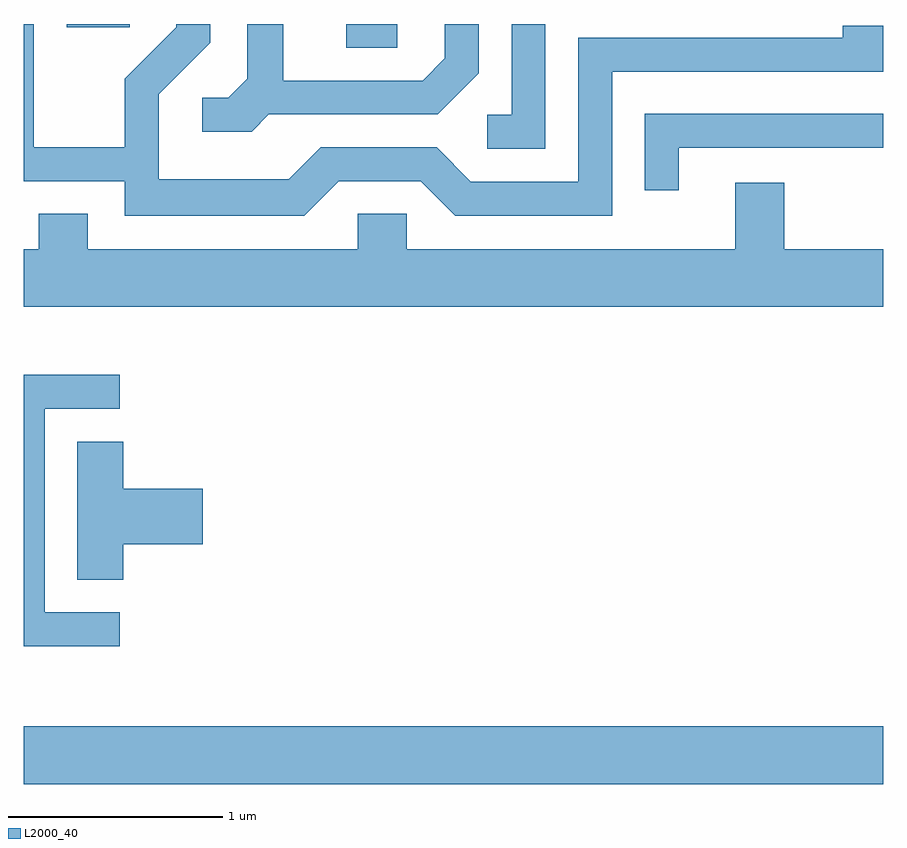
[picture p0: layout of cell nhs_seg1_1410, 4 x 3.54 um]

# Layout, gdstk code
import gdstk
lib = gdstk.Library(unit=1e-6, precision=1e-09)
def R(c, l, rs):  # rectangles x0, y0, x1, y1
    for r in rs: c.add(gdstk.rectangle(r[:2], r[2:], *l))
def P(c, l, *ps):  # polygons
    for p in ps: c.add(gdstk.Polygon(p, *l))
L2000_40 = (2000, 40)

nhs_seg1_1410 = lib.new_cell('nhs_seg1_1410')
R(nhs_seg1_1410, L2000_40, [(227.611,966.176,231.611,966.444), (229.111,969.601,229.349,969.712), (227.811,969.696,228.104,969.712)])
P(nhs_seg1_1410, L2000_40, [(228.752,969.291),(229.537,969.291),(229.729,969.484),(229.729,969.712),(229.571,969.712),(229.571,969.552),(229.469,969.449),(228.819,969.449),(228.819,969.712),(228.651,969.712),(228.651,969.457),(228.564,969.369),(228.443,969.369),(228.443,969.211),(228.672,969.211)],
  [(229.077,968.981),(229.459,968.981),(229.619,968.821),(230.349,968.821),(230.349,969.491),(231.611,969.491),(231.611,969.704),(231.421,969.704),(231.421,969.649),(230.191,969.649),(230.191,968.979),(229.692,968.979),(229.532,969.139),(228.994,969.139),(228.844,968.989),(228.239,968.989),(228.239,969.384),(228.479,969.624),(228.479,969.712),(228.321,969.712),(228.321,969.697),(228.081,969.457),(228.081,969.139),(227.659,969.139),(227.659,969.712),(227.611,969.712),(227.611,968.981),(228.081,968.981),(228.081,968.821),(228.917,968.821)],
  [(230.039,969.712),(229.881,969.712),(229.881,969.289),(229.768,969.289),(229.768,969.131),(230.039,969.131)],
  [(230.659,969.136),(231.611,969.136),(231.611,969.294),(230.501,969.294),(230.501,968.938),(230.659,968.938)],
  [(231.611,968.664),(231.149,968.664),(231.149,968.974),(230.921,968.974),(230.921,968.664),(229.394,968.664),(229.394,968.829),(229.166,968.829),(229.166,968.664),(227.909,968.664),(227.909,968.829),(227.681,968.829),(227.681,968.664),(227.611,968.664),(227.611,968.396),(231.611,968.396)],
  [(228.058,966.974),(227.709,966.974),(227.709,967.921),(228.058,967.921),(228.058,968.079),(227.611,968.079),(227.611,966.816),(228.058,966.816)],
  [(228.074,967.291),(228.444,967.291),(228.444,967.549),(228.074,967.549),(228.074,967.769),(227.861,967.769),(227.861,967.126),(228.074,967.126)])

lib.write_gds('nhs_seg1_1410.gds')
